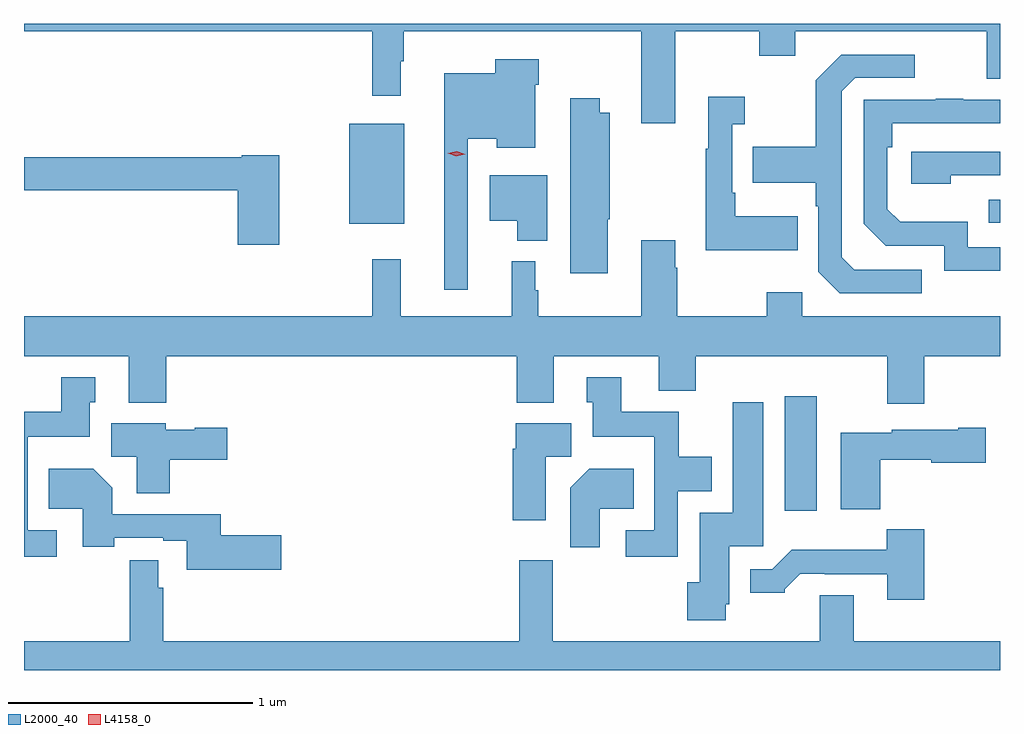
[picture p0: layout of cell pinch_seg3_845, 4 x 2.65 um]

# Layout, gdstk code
import gdstk
lib = gdstk.Library(unit=1e-6, precision=1e-09)
def R(c, l, rs):  # rectangles x0, y0, x1, y1
    for r in rs: c.add(gdstk.rectangle(r[:2], r[2:], *l))
def P(c, l, *ps):  # polygons
    for p in ps: c.add(gdstk.Polygon(p, *l))
L2000_40 = (2000, 40)
L4158_0 = (4158, 0)

pinch_seg3_845 = lib.new_cell('pinch_seg3_845')
R(pinch_seg3_845, L2000_40, [(763.199,746.904,763.33,747.373), (761.414,748.079,761.641,748.489), (764.035,748.083,764.082,748.179)])
P(pinch_seg3_845, L2000_40, [(762.751,748.868),(763.096,748.868),(763.096,748.769),(763.243,748.769),(763.243,748.868),(764.027,748.868),(764.027,748.674),(764.082,748.674),(764.082,748.9),(760.082,748.9),(760.082,748.868),(761.509,748.868),(761.509,748.605),(761.626,748.605),(761.626,748.745),(761.638,748.745),(761.638,748.868),(762.611,748.868),(762.611,748.491),(762.751,748.491)],
  [(763.762,747.891),(763.485,747.891),(763.434,747.942),(763.434,748.623),(763.488,748.677),(763.732,748.677),(763.732,748.773),(763.431,748.773),(763.326,748.667),(763.326,748.395),(763.069,748.395),(763.069,748.247),(763.326,748.247),(763.326,748.151),(763.338,748.151),(763.338,747.882),(763.425,747.795),(763.762,747.795)],
  [(761.901,748.427),(762.02,748.427),(762.02,748.391),(762.178,748.391),(762.178,748.649),(762.191,748.649),(762.191,748.753),(762.013,748.753),(762.013,748.696),(761.804,748.696),(761.804,747.81),(761.901,747.81)],
  [(763.253,748.111),(762.997,748.111),(762.997,748.207),(762.984,748.207),(762.984,748.487),(763.036,748.487),(763.036,748.6),(762.887,748.6),(762.887,748.387),(762.876,748.387),(762.876,747.971),(763.253,747.971)],
  [(762.475,748.099),(762.483,748.099),(762.483,748.534),(762.442,748.534),(762.442,748.594),(762.32,748.594),(762.32,747.876),(762.475,747.876)],
  [(764.082,747.984),(763.95,747.984),(763.95,748.087),(763.673,748.087),(763.62,748.14),(763.62,748.394),(763.64,748.394),(763.64,748.491),(764.082,748.491),(764.082,748.587),(763.931,748.587),(763.931,748.592),(763.819,748.592),(763.819,748.587),(763.524,748.587),(763.524,748.08),(763.614,747.99),(763.854,747.99),(763.854,747.888),(764.082,747.888)],
  [(763.88,748.278),(764.082,748.278),(764.082,748.374),(763.719,748.374),(763.719,748.244),(763.88,748.244)],
  [(761.128,748.36),(760.974,748.36),(760.974,748.352),(760.082,748.352),(760.082,748.216),(760.958,748.216),(760.958,747.993),(761.128,747.993)],
  [(762.226,748.279),(761.99,748.279),(761.99,748.091),(762.104,748.091),(762.104,748.01),(762.226,748.01)],
  [(763.772,747.536),(764.082,747.536),(764.082,747.7),(763.272,747.7),(763.272,747.799),(763.126,747.799),(763.126,747.7),(762.759,747.7),(762.759,747.899),(762.751,747.899),(762.751,748.012),(762.611,748.012),(762.611,747.7),(762.19,747.7),(762.19,747.807),(762.178,747.807),(762.178,747.925),(762.08,747.925),(762.08,747.7),(761.627,747.7),(761.627,747.934),(761.509,747.934),(761.509,747.7),(760.082,747.7),(760.082,747.536),(760.511,747.536),(760.511,747.347),(760.664,747.347),(760.664,747.536),(762.101,747.536),(762.101,747.347),(762.253,747.347),(762.253,747.536),(762.683,747.536),(762.683,747.395),(762.836,747.395),(762.836,747.536),(763.619,747.536),(763.619,747.342),(763.772,747.342)],
  [(762.762,746.984),(762.901,746.984),(762.901,747.124),(762.765,747.124),(762.765,747.31),(762.529,747.31),(762.529,747.451),(762.389,747.451),(762.389,747.348),(762.413,747.348),(762.413,747.206),(762.666,747.206),(762.666,746.823),(762.549,746.823),(762.549,746.715),(762.762,746.715)],
  [(760.216,746.823),(760.098,746.823),(760.098,747.206),(760.351,747.206),(760.351,747.348),(760.375,747.348),(760.375,747.451),(760.235,747.451),(760.235,747.31),(760.082,747.31),(760.082,746.715),(760.216,746.715)],
  [(762.957,746.52),(762.973,746.52),(762.973,746.757),(763.111,746.757),(763.111,747.349),(762.986,747.349),(762.986,746.896),(762.851,746.896),(762.851,746.61),(762.8,746.61),(762.8,746.454),(762.957,746.454)],
  [(760.679,747.113),(760.915,747.113),(760.915,747.243),(760.782,747.243),(760.782,747.235),(760.662,747.235),(760.662,747.262),(760.439,747.262),(760.439,747.124),(760.544,747.124),(760.544,746.976),(760.679,746.976)],
  [(762.22,747.124),(762.325,747.124),(762.325,747.262),(762.098,747.262),(762.098,747.158),(762.086,747.158),(762.086,746.865),(762.22,746.865)],
  [(763.592,747.113),(763.8,747.113),(763.8,747.101),(764.023,747.101),(764.023,747.243),(763.91,747.243),(763.91,747.235),(763.638,747.235),(763.638,747.223),(763.43,747.223),(763.43,746.909),(763.592,746.909)],
  [(762.442,746.912),(762.581,746.912),(762.581,747.076),(762.398,747.076),(762.32,746.998),(762.32,746.754),(762.442,746.754)],
  [(761.137,746.804),(760.889,746.804),(760.889,746.889),(760.444,746.889),(760.444,746.998),(760.366,747.076),(760.183,747.076),(760.183,746.912),(760.322,746.912),(760.322,746.755),(760.452,746.755),(760.452,746.793),(760.652,746.793),(760.652,746.781),(760.748,746.781),(760.748,746.662),(761.137,746.662)],
  [(763.772,746.827),(763.617,746.827),(763.617,746.743),(763.228,746.743),(763.149,746.664),(763.058,746.664),(763.058,746.567),(763.2,746.567),(763.2,746.582),(763.264,746.646),(763.363,746.646),(763.363,746.643),(763.619,746.643),(763.619,746.538),(763.772,746.538)],
  [(760.652,746.588),(760.632,746.588),(760.632,746.701),(760.516,746.701),(760.516,746.368),(760.082,746.368),(760.082,746.249),(764.082,746.249),(764.082,746.368),(763.483,746.368),(763.483,746.558),(763.343,746.558),(763.343,746.368),(762.248,746.368),(762.248,746.701),(762.112,746.701),(762.112,746.368),(760.652,746.368)])
P(pinch_seg3_845, L4158_0, [(761.854,748.357),(761.819,748.369),(761.819,748.369),(761.819,748.369),(761.855,748.377),(761.89,748.365),(761.891,748.365),(761.89,748.365)])

lib.write_gds('pinch_seg3_845.gds')
